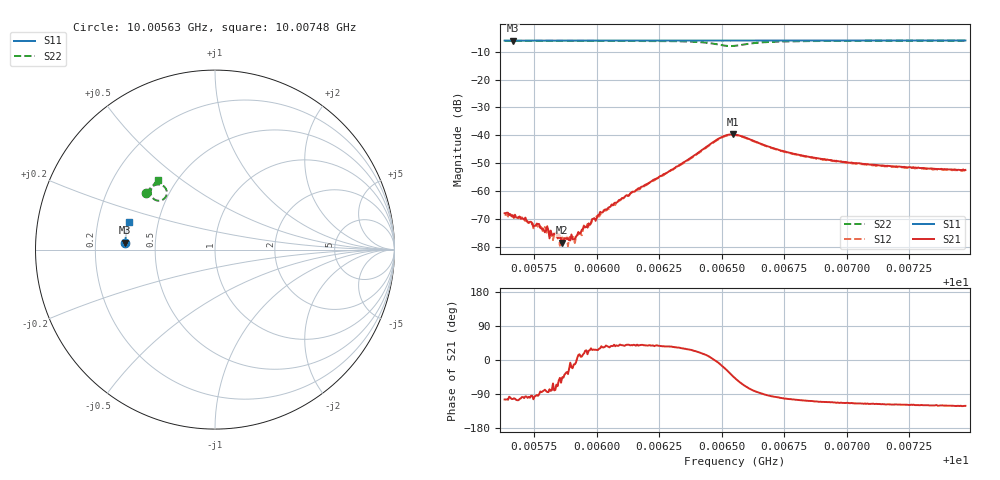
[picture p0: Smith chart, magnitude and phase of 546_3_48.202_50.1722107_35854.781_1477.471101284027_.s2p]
#  HZ  S  RI  R  50.00
! Rohde & Schwarz Vector Network Analyzer
! Rohde-Schwarz,ZNB20-2Port,1311601062101988,3.16
! Created: UTC 3/20/2024, 12:00:36 PM
! freq[Hz]  re:S11  im:S11  re:S21  im:S21  re:S12  im:S12  re:S22  im:S22
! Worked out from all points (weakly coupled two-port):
!   401 points, 10.00563 GHz to 10.00748 GHz, reference 50 ohm
!   highest |S21| = -39.69 dB at 10.00654 GHz (marker M1); lowest = -78.6 dB at 10.00586 GHz (marker M2)
!   lowest |S11| = -6.0 dB at 10.00566 GHz (marker M3), VSWR 3.01, Z = 16.6 + j1.76 ohm
!   |S11| at or under -10 dB: nowhere
!   |S22| runs from -7.9 to -6.0 dB; largest |S21 - S12| = 0.00065
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1.0005632e10  -0.5002 0.0375  -9.65e-05 -0.000386  -6.95e-05 -0.000373  -0.3852 0.314
1.0005664e10  -0.4999 0.0395  -8.22e-05 -0.000358  -5.14e-05 -0.000342  -0.3836 0.3159
1.0005701e10  -0.4999 0.042  -4.46e-05 -0.000316  -6.83e-05 -0.000329  -0.3821 0.3181
1.0005747e10  -0.4997 0.0452  -5.45e-05 -0.000225  -1.53e-05 -0.000213  -0.3796 0.321
1.0005765e10  -0.4997 0.0461  -2.06e-05 -0.000255  9.03e-06 -0.000226  -0.3788 0.322
1.0005821e10  -0.4994 0.0499  2.89e-05 -0.00016  2.51e-05 -0.000161  -0.3761 0.3256
1.0005844e10  -0.4993 0.0513  5e-05 -0.000131  9.73e-05 -0.000128  -0.3748 0.3269
1.0005862e10  -0.4992 0.0525  8.29e-05 -8.41e-05  9.27e-05 -0.000118  -0.3739 0.3282
1.0005913e10  -0.4989 0.0557  0.000135 -2.72e-05  0.000116 6.1e-06  -0.371 0.3314
1.000594e10  -0.4989 0.0575  0.000197 3.11e-05  0.00016 1.99e-06  -0.3694 0.333
1.0005954e10  -0.4989 0.0585  0.000201 9.17e-05  0.000213 7.84e-05  -0.3686 0.3341
1.0005968e10  -0.4986 0.0593  0.000238 0.000109  0.000202 0.000109  -0.3677 0.335
1.0005991e10  -0.4986 0.0609  0.000287 0.000148  0.000261 0.000174  -0.3663 0.3367
1.0006028e10  -0.4983 0.0633  0.000363 0.000238  0.000353 0.000275  -0.3639 0.339
1.0006249e10  -0.4966 0.0778  0.00141 0.00109  0.00132 0.00113  -0.3429 0.3554
1.0006489e10  -0.4937 0.0929  0.00864 -0.00126  0.00852 -0.000784  -0.2696 0.3285
1.0006544e10  -0.493 0.0959  0.00767 -0.00697  0.00792 -0.00637  -0.2887 0.2794
1.0006553e10  -0.493 0.0963  0.00687 -0.00763  0.00717 -0.00708  -0.2971 0.2751
1.0006738e10  -0.4918 0.1082  -0.000926 -0.00521  -0.00064 -0.00518  -0.3583 0.3239
1.0006862e10  -0.4904 0.1162  -0.00126 -0.00382  -0.00109 -0.0038  -0.3526 0.3439
1.0007171e10  -0.486 0.1357  -0.00128 -0.0025  -0.00113 -0.00251  -0.3351 0.3697
1.0007475e10  -0.4811 0.1547  -0.00123 -0.00204  -0.00114 -0.00204  -0.319 0.387
